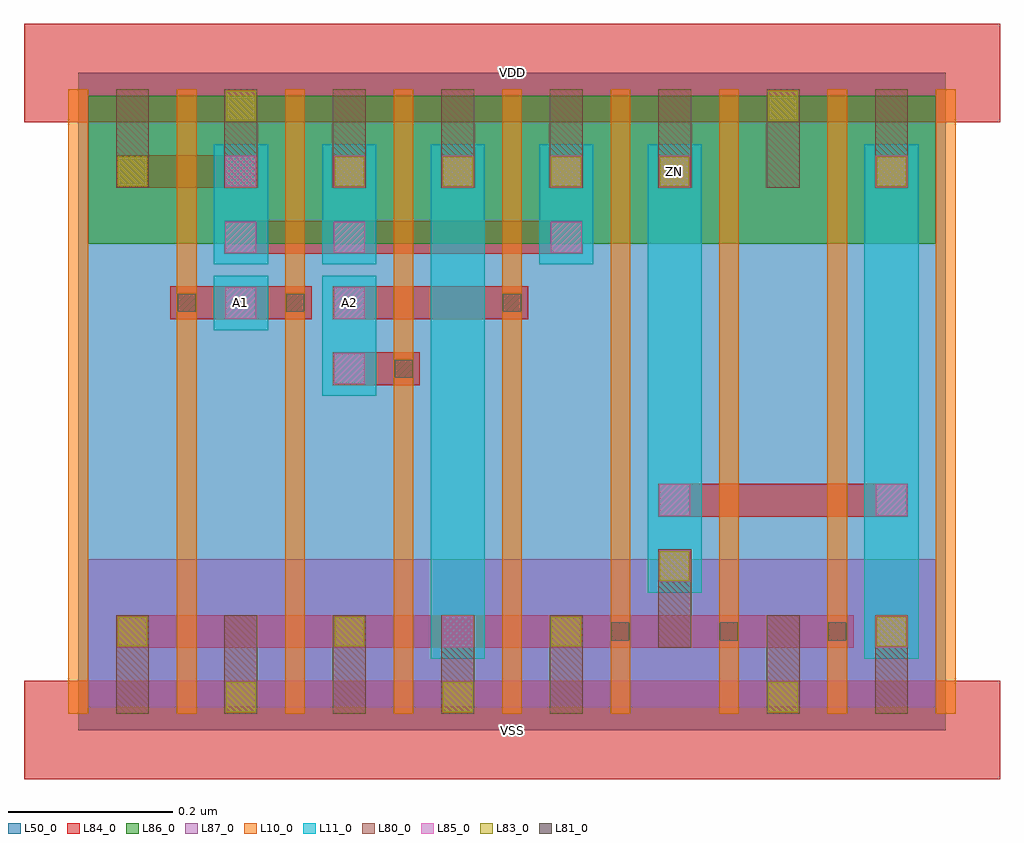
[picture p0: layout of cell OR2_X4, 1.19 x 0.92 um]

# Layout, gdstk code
import gdstk
lib = gdstk.Library(unit=1e-6, precision=1e-09)
def R(c, l, rs):  # rectangles x0, y0, x1, y1
    for r in rs: c.add(gdstk.rectangle(r[:2], r[2:], *l))
def A(c, l, x, y, w, h, nx, ny, dx, dy):  # array of equal rectangles
    R(c, l, [(x+i*dx, y+j*dy, x+i*dx+w, y+j*dy+h) for i in range(nx) for j in range(ny)])
L10_0 = (10, 0)
L11_0 = (11, 0)
L50_0 = (50, 0)
L80_0 = (80, 0)
L81_0 = (81, 0)
L83_0 = (83, 0)
L84_0 = (84, 0)
L85_0 = (85, 0)
L86_0 = (86, 0)
L87_0 = (87, 0)

or2_x4 = lib.new_cell('OR2_X4')
A(or2_x4, L10_0, -0.012, 0.02, 0.024, 0.76, 9, 1, 0.132, 0)
R(or2_x4, L11_0, [(0.429,0.087,0.495,0.713), (0.957,0.087,1.023,0.713), (0.693,0.167,0.759,0.713), (0.297,0.407,0.363,0.553), (0.165,0.487,0.231,0.553), (0.165,0.567,0.231,0.713), (0.297,0.567,0.363,0.713), (0.561,0.567,0.627,0.713)])
R(or2_x4, L50_0, [(0,0,1.056,0.8)])
A(or2_x4, L80_0, 0.046, 0.02, 0.04, 0.12, 5, 1, 0.132, 0)
A(or2_x4, L80_0, 0.046, 0.66, 0.04, 0.12, 8, 1, 0.132, 0)
R(or2_x4, L80_0, [(0.838,0.02,0.878,0.14), (0.97,0.02,1.01,0.14), (0.706,0.1,0.746,0.22)])
A(or2_x4, L81_0, 0.649, 0.109, 0.022, 0.022, 3, 1, 0.132, 0)
R(or2_x4, L81_0, [(0.385,0.429,0.407,0.451), (0.121,0.509,0.143,0.531), (0.253,0.509,0.275,0.531), (0.517,0.509,0.539,0.531)])
A(or2_x4, L83_0, 0.048, 0.102, 0.036, 0.036, 3, 1, 0.264, 0)
A(or2_x4, L83_0, 0.312, 0.662, 0.036, 0.036, 4, 1, 0.132, 0)
R(or2_x4, L83_0, [(0.18,0.022,0.216,0.058), (0.444,0.022,0.48,0.058), (0.84,0.022,0.876,0.058), (0.972,0.102,1.008,0.138), (0.708,0.182,0.744,0.218), (0.048,0.662,0.084,0.698), (0.972,0.662,1.008,0.698), (0.18,0.742,0.216,0.778), (0.84,0.742,0.876,0.778)])
A(or2_x4, L84_0, 0.31, 0.66, 0.04, 0.04, 4, 1, 0.132, 0)
R(or2_x4, L84_0, [(-0.066,-0.06,1.122,0.06), (0.046,0.1,0.944,0.14), (0.97,0.1,1.01,0.14), (0.706,0.18,0.746,0.22), (0.706,0.26,1.01,0.3), (0.31,0.42,0.416,0.46), (0.112,0.5,0.284,0.54), (0.31,0.5,0.548,0.54), (0.178,0.58,0.614,0.62), (0.046,0.66,0.218,0.7), (0.97,0.66,1.01,0.7), (-0.066,0.74,1.122,0.86)])
A(or2_x4, L85_0, 0.311, 0.421, 0.038, 0.038, 1, 3, 0, 0.08)
A(or2_x4, L85_0, 0.179, 0.661, 0.038, 0.038, 5, 1, 0.132, 0)
R(or2_x4, L85_0, [(0.443,0.101,0.481,0.139), (0.971,0.101,1.009,0.139), (0.707,0.181,0.745,0.219), (0.707,0.261,0.745,0.299), (0.971,0.261,1.009,0.299), (0.179,0.501,0.217,0.539), (0.179,0.581,0.217,0.619), (0.575,0.581,0.613,0.619), (0.971,0.661,1.009,0.699)])
R(or2_x4, L86_0, [(0.012,0.592,1.044,0.772)])
R(or2_x4, L87_0, [(0.012,0.028,1.044,0.208)])
or2_x4.add(gdstk.Label('VDD', (0.528,0.8), layer=88, texttype=0))
or2_x4.add(gdstk.Label('VSS', (0.528,0), layer=88, texttype=0))
or2_x4.add(gdstk.Label('ZN', (0.726,0.68), layer=31, texttype=0))
or2_x4.add(gdstk.Label('A2', (0.33,0.52), layer=31, texttype=0))
or2_x4.add(gdstk.Label('A1', (0.198,0.52), layer=31, texttype=0))

lib.write_gds('OR2_X4.gds')
